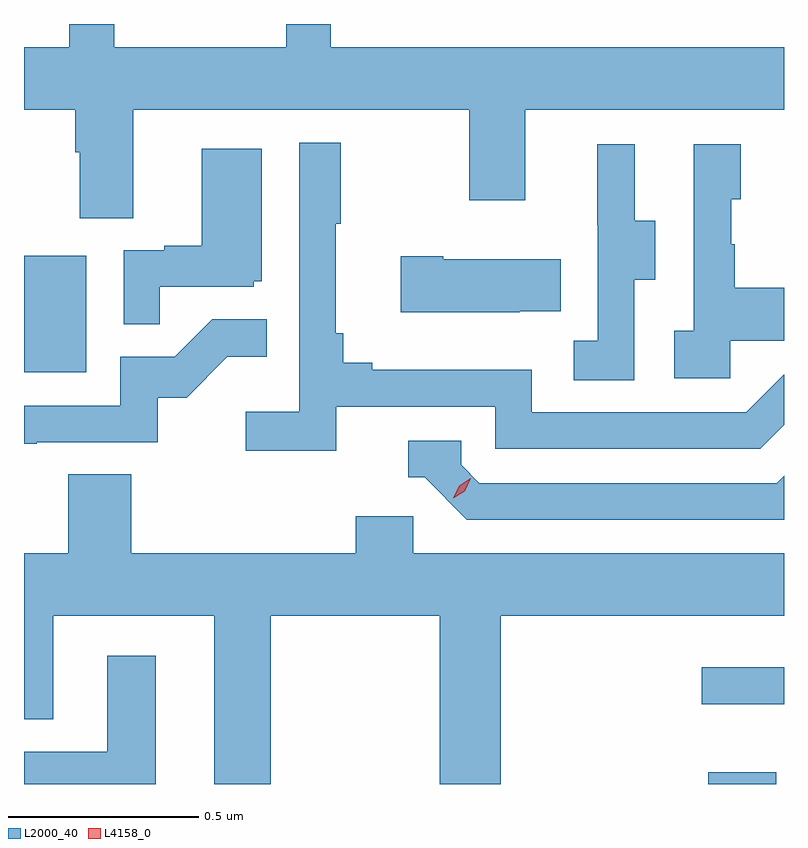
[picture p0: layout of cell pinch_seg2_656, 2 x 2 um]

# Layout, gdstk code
import gdstk
lib = gdstk.Library(unit=1e-6, precision=1e-09)
def R(c, l, rs):  # rectangles x0, y0, x1, y1
    for r in rs: c.add(gdstk.rectangle(r[:2], r[2:], *l))
def P(c, l, *ps):  # polygons
    for p in ps: c.add(gdstk.Polygon(p, *l))
L2000_40 = (2000, 40)
L4158_0 = (4158, 0)

pinch_seg2_656 = lib.new_cell('pinch_seg2_656')
R(pinch_seg2_656, L2000_40, [(1054.898,588.585,1055.077,588.616), (1054.881,588.795,1055.098,588.892), (1053.098,589.668,1053.262,589.975)])
P(pinch_seg2_656, L2000_40, [(1053.385,590.36),(1054.27,590.36),(1054.27,590.121),(1054.417,590.121),(1054.417,590.36),(1055.098,590.36),(1055.098,590.524),(1053.905,590.524),(1053.905,590.585),(1053.788,590.585),(1053.788,590.524),(1053.335,590.524),(1053.335,590.585),(1053.217,590.585),(1053.217,590.524),(1053.098,590.524),(1053.098,590.36),(1053.233,590.36),(1053.233,590.248),(1053.245,590.248),(1053.245,590.074),(1053.385,590.074)],
  [(1053.92,589.578),(1054.338,589.578),(1054.338,589.467),(1055.035,589.467),(1055.098,589.53),(1055.098,589.662),(1055.097,589.662),(1054.998,589.563),(1054.434,589.563),(1054.434,589.675),(1054.015,589.675),(1054.015,589.694),(1053.938,589.694),(1053.938,589.771),(1053.919,589.771),(1053.919,590.059),(1053.931,590.059),(1053.931,590.272),(1053.822,590.272),(1053.822,589.564),(1053.681,589.564),(1053.681,589.462),(1053.92,589.462)],
  [(1054.956,589.751),(1055.098,589.751),(1055.098,589.891),(1054.969,589.891),(1054.969,590.006),(1054.959,590.006),(1054.959,590.124),(1054.984,590.124),(1054.984,590.269),(1054.86,590.269),(1054.86,589.778),(1054.809,589.778),(1054.809,589.653),(1054.956,589.653)],
  [(1054.704,589.912),(1054.759,589.912),(1054.759,590.067),(1054.705,590.067),(1054.705,590.269),(1054.607,590.269),(1054.607,590.055),(1054.608,590.055),(1054.608,589.751),(1054.545,589.751),(1054.545,589.648),(1054.704,589.648)],
  [(1053.455,589.893),(1053.702,589.893),(1053.702,589.908),(1053.724,589.908),(1053.724,590.257),(1053.566,590.257),(1053.566,590.002),(1053.467,590.002),(1053.467,589.989),(1053.36,589.989),(1053.36,589.795),(1053.455,589.795)],
  [(1054.403,589.829),(1054.511,589.829),(1054.511,589.966),(1054.201,589.966),(1054.201,589.974),(1054.089,589.974),(1054.089,589.826),(1054.403,589.826)],
  [(1053.131,589.485),(1053.45,589.485),(1053.45,589.602),(1053.526,589.602),(1053.633,589.709),(1053.737,589.709),(1053.737,589.808),(1053.593,589.808),(1053.495,589.71),(1053.351,589.71),(1053.351,589.581),(1053.098,589.581),(1053.098,589.48),(1053.131,589.48)],
  [(1055.098,589.396),(1055.079,589.377),(1054.296,589.377),(1054.248,589.425),(1054.248,589.488),(1054.109,589.488),(1054.109,589.392),(1054.152,589.392),(1054.263,589.281),(1055.098,589.281)],
  [(1053.747,589.028),(1054.192,589.028),(1054.192,588.585),(1054.352,588.585),(1054.352,589.028),(1055.098,589.028),(1055.098,589.192),(1054.122,589.192),(1054.122,589.29),(1053.971,589.29),(1053.971,589.192),(1053.38,589.192),(1053.38,589.4),(1053.215,589.4),(1053.215,589.192),(1053.098,589.192),(1053.098,588.755),(1053.175,588.755),(1053.175,589.028),(1053.599,589.028),(1053.599,588.585),(1053.747,588.585)],
  [(1053.445,588.922),(1053.317,588.922),(1053.317,588.67),(1053.098,588.67),(1053.098,588.585),(1053.445,588.585)])
P(pinch_seg2_656, L4158_0, [(1054.227,589.337),(1054.227,589.337),(1054.243,589.37),(1054.274,589.389),(1054.274,589.389),(1054.274,589.389),(1054.258,589.356),(1054.228,589.337)])

lib.write_gds('pinch_seg2_656.gds')
